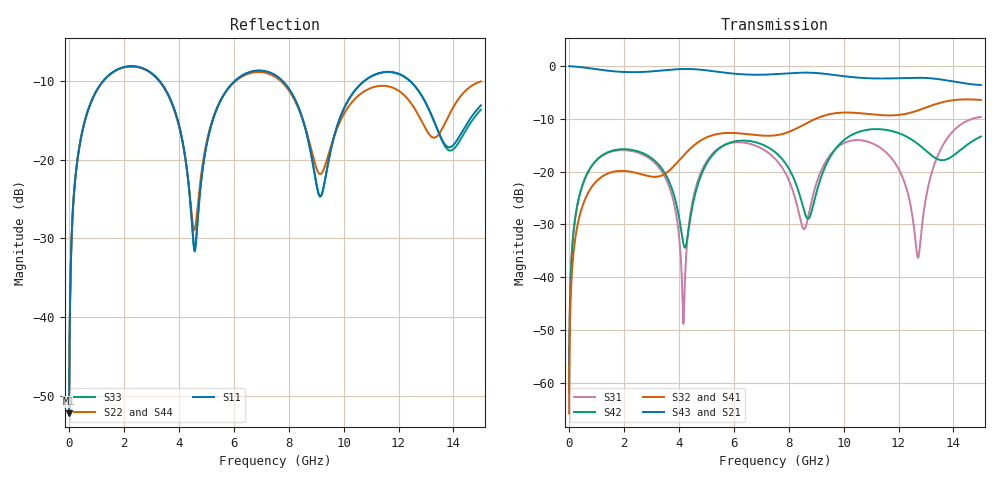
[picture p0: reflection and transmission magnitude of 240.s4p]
! Created with skrf 1.8.0 (http://scikit-rf.org).
# GHz S RI R 50.0
!freq ReS11 ImS11 ReS12 ImS12 ReS13 ImS13
! ReS14 ImS14
! ReS21 ImS21 ReS22 ImS22 ReS23 ImS23
! ReS24 ImS24
! ReS31 ImS31 ReS32 ImS32 ReS33 ImS33
! ReS34 ImS34
! ReS41 ImS41 ReS42 ImS42 ReS43 ImS43
! ReS44 ImS44
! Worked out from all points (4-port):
!   2499 points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, 5 MHz to 15 GHz, reference 50 ohm
!   strongest paths, dB at 5 MHz, 3.476 GHz, 7.19 GHz, 11.1 GHz, 15 GHz:
!     S43: 0.0, -0.8, -1.6, -2.3, -3.6
!     S21: 0.0, -0.8, -1.6, -2.3, -3.6
!     S32: -65.8, -20.5, -13.2, -9.2, -6.4
!     S41: -65.8, -20.5, -13.3, -9.2, -6.5
!     S42: -61.8, -20.2, -15.2, -12.0, -13.3
!     S31: -61.8, -20.8, -16.2, -14.8, -9.6
!   lowest |S11| = -52.2 dB at 5 MHz (marker M1), VSWR 1.00, Z = 50.2 + j0.149 ohm
!   |S11| at or under -10 dB: 3.295 GHz to 6.045 GHz (2.749 GHz wide, 58.9 % of centre); 7.774 GHz to 10.76 GHz (2.983 GHz wide, 32.2 % of centre); 12.41 GHz to end of sweep (the widest 3 of 4)
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0.005  0.00196 0.00148  0.998 -0.00381  0.0001 0.000805  -9.74e-05 -0.000501
       0.998 -0.00381  0.00196 0.00148  -9.74e-05 -0.000501  0.000101 0.000805
       0.0001 0.000805  -9.74e-05 -0.000501  0.00196 0.00148  0.998 -0.00381
       -9.74e-05 -0.000501  0.000101 0.000805  0.998 -0.00381  0.00196 0.00148
1.3193  0.2761 0.1738  0.5376 -0.7347  0.1311 0.0658  -0.0931 -0.00428
        0.5376 -0.7347  0.2742 0.1751  -0.0932 -0.00414  0.1362 0.0586
        0.1311 0.0658  -0.0932 -0.00414  0.2759 0.1739  0.5376 -0.7347
        -0.0931 -0.00428  0.1362 0.0586  0.5376 -0.7347  0.2742 0.175
4.170488  0.0545 -0.1087  -0.8765 -0.3343  0.00345 0.00104  -0.0472 0.1338
          -0.8765 -0.3343  0.0627 -0.1016  -0.0452 0.1345  -0.0181 -0.00965
          0.00345 0.00104  -0.0452 0.1345  0.055 -0.1074  -0.8767 -0.3342
          -0.0472 0.1338  -0.0181 -0.00965  -0.8767 -0.3342  0.0613 -0.1009
5.308462  0.1277 0.146  -0.8011 0.3893  0.1134 0.1063  0.127 0.1843
          -0.8011 0.3893  0.1348 0.143  0.1299 0.1827  0.1098 0.1041
          0.1134 0.1063  0.1299 0.1827  0.1286 0.146  -0.8011 0.389
          0.127 0.1843  0.1098 0.1041  -0.8011 0.389  0.1345 0.1448
9.203835  0.0598 0.00712  0.8436 0.1098  -0.00333 0.1049  0.0376 -0.331
          0.8436 0.1098  0.082 0.00394  0.0285 -0.332  0.0108 0.0913
          -0.00333 0.1049  0.0285 -0.332  0.0593 0.00853  0.8435 0.1111
          0.0376 -0.331  0.0108 0.0913  0.8435 0.1111  0.0819 0.00766
12.71155  0.229 -0.154  -0.4285 -0.6457  0.0127 0.00843  -0.3151 0.2125
          -0.4285 -0.6457  0.1834 -0.0617  -0.3062 0.2253  -0.0742 -0.1663
          0.0127 0.00843  -0.3062 0.2253  0.2287 -0.1543  -0.4242 -0.6486
          -0.3151 0.2125  -0.0742 -0.1663  -0.4242 -0.6486  0.184 -0.0622
15  0.2169 0.0417  -0.5733 0.3309  0.2979 0.1411  0.3035 0.361
    -0.5733 0.3309  0.3114 0.0358  0.322 0.3529  0.1864 0.1073
    0.2979 0.1411  0.322 0.3529  0.2025 0.0459  -0.5764 0.3242
    0.3035 0.361  0.1864 0.1073  -0.5764 0.3242  0.3238 0.0392
